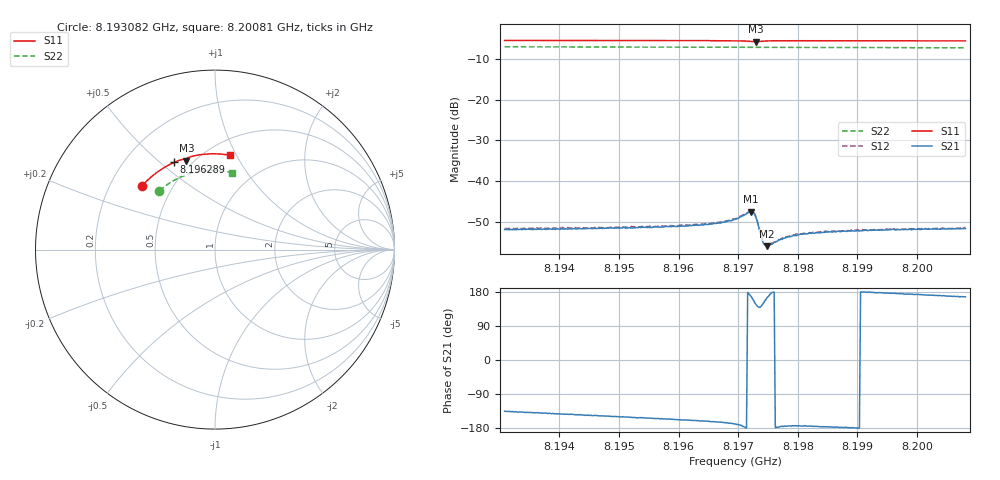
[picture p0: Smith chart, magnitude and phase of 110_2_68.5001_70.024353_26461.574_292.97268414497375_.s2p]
#  HZ  S  RI  R  50.00
! Rohde & Schwarz Vector Network Analyzer
! Rohde-Schwarz,ZNB20-2Port,1311601062101988,3.16
! Created: UTC 3/20/2024, 4:53:26 PM
! freq[Hz]  re:S11  im:S11  re:S21  im:S21  re:S12  im:S12  re:S22  im:S22
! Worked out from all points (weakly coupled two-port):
!   401 points, 8.193082 GHz to 8.20081 GHz, reference 50 ohm
!   highest |S21| = -47.57 dB at 8.197216 GHz (marker M1); lowest = -56.1 dB at 8.197487 GHz (marker M2)
!   lowest |S11| = -5.7 dB at 8.197293 GHz (marker M3), VSWR 3.17, Z = 22.9 + j31.1 ohm
!   |S11| at or under -10 dB: nowhere
!   |S22| runs from -7.2 to -6.9 dB; largest |S21 - S12| = 0.00023
!   S11 on the Smith chart (normalised r, x): 8.193082 GHz: 0.34, +0.33; 8.196289 GHz: 0.41, +0.56; 8.20081 GHz: 0.64, +0.94
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8.1930817e9  -0.409 0.3517  -0.00179 -0.00177  -0.00193 -0.00177  -0.3093 0.3277
8.1943762e9  -0.3432 0.4149  -0.00211 -0.00148  -0.00224 -0.00146  -0.2517 0.3714
8.1956706e9  -0.2675 0.4663  -0.00245 -0.00116  -0.00253 -0.0011  -0.1881 0.4054
8.1962888e9  -0.2279 0.486  -0.00267 -0.000969  -0.00278 -0.00092  -0.1558 0.4176
8.1966753e9  -0.2018 0.4966  -0.00291 -0.000833  -0.00301 -0.000713  -0.1351 0.4242
8.1969457e9  -0.1818 0.5028  -0.0033 -0.000657  -0.00339 -0.000547  -0.1204 0.4281
8.1971776e9  -0.1614 0.5023  -0.00408 0.000387  -0.00415 0.000564  -0.1075 0.431
8.1972162e9  -0.1588 0.4999  -0.00408 0.000905  -0.0041 0.00112  -0.1054 0.4313
8.1972549e9  -0.1581 0.4969  -0.00375 0.00152  -0.00374 0.00175  -0.1034 0.4316
8.1972935e9  -0.1597 0.4951  -0.00302 0.00194  -0.00304 0.00211  -0.1014 0.4319
8.1973128e9  -0.161 0.4954  -0.00264 0.00197  -0.00262 0.00215  -0.1004 0.4322
8.1974094e9  -0.1616 0.5031  -0.00151 0.000985  -0.00151 0.00108  -0.0954 0.4335
8.1974481e9  -0.1592 0.5061  -0.00149 0.000647  -0.00149 0.000705  -0.093 0.4339
8.1974867e9  -0.1564 0.5085  -0.00152 0.000397  -0.00155 0.000457  -0.0909 0.4343
8.1975253e9  -0.1535 0.5103  -0.00161 0.000226  -0.00162 0.000291  -0.0887 0.4347
8.1976799e9  -0.1414 0.5156  -0.00188 -0.000104  -0.0019 -7.2e-05  -0.0801 0.4362
8.1977958e9  -0.1327 0.5182  -0.002 -0.000184  -0.00205 -9.55e-05  -0.0736 0.4373
8.1979697e9  -0.1201 0.5215  -0.0021 -0.00024  -0.00222 -0.000141  -0.0639 0.4384
8.1982402e9  -0.1007 0.5256  -0.00228 -0.000192  -0.00231 -0.000102  -0.0487 0.4399
8.1990323e9  -0.0444 0.5325  -0.00242 -5.38e-06  -0.00246 0.00012  -0.00385 0.4411
8.1995346e9  -0.00867 0.5337  -0.00252 0.000173  -0.00252 0.000276  0.0245 0.4396
8.2008098e9  0.0812 0.5261  -0.00252 0.000592  -0.00256 0.000729  0.0959 0.4272
